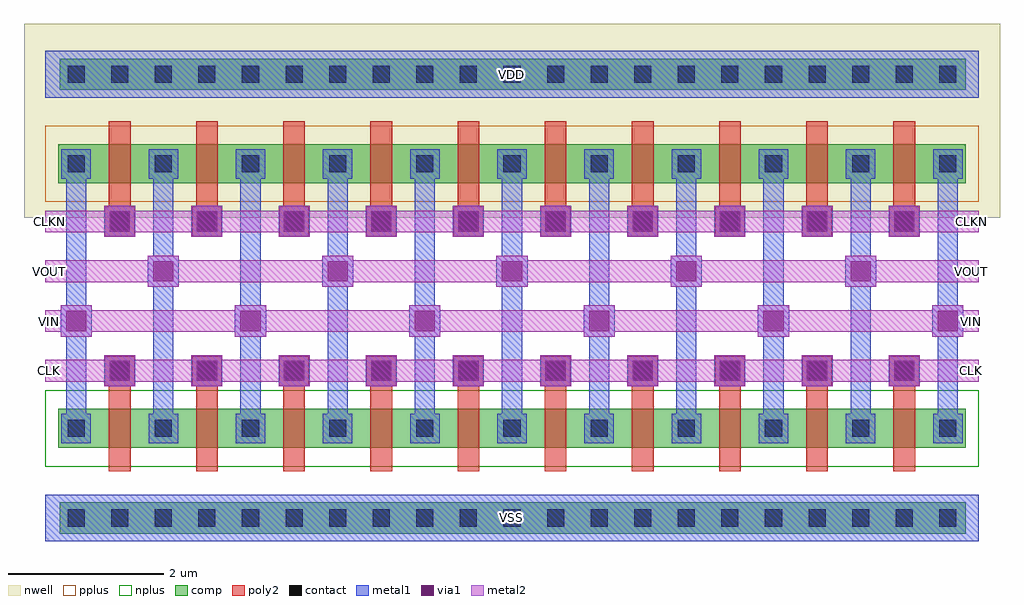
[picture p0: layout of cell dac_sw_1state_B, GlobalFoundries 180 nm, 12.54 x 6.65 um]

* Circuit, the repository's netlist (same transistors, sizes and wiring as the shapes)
** sch_path: /foss/designs/Chipathon-2026-OnChipSAR/designs/sar_adc/dac/dac_sw_1state_B/xschem/dac_sw_1state_B.sch
.subckt dac_sw_1state_B VDD VSS CLK VIN VOUT CLKN
*.PININFO VIN:B VOUT:B CLK:B CLKN:B VSS:B VDD:B
MSN VOUT CLK VIN VSS nfet_03v3 L=0.28u W=0.5u nf=1 m=10
MSP VIN CLKN VOUT VDD pfet_03v3 L=0.28u W=0.5u nf=1 m=10
.ends

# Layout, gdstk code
import gdstk
lib = gdstk.Library(unit=1e-6, precision=5e-09)
def R(c, l, rs):  # rectangles x0, y0, x1, y1
    for r in rs: c.add(gdstk.rectangle(r[:2], r[2:], *l))
def A(c, l, x, y, w, h, nx, ny, dx, dy):  # array of equal rectangles
    R(c, l, [(x+i*dx, y+j*dy, x+i*dx+w, y+j*dy+h) for i in range(nx) for j in range(ny)])
nwell = (21, 0)
comp = (22, 0)
poly2 = (30, 0)
pplus = (31, 0)
nplus = (32, 0)
contact = (33, 0)
metal1 = (34, 0)
via1 = (35, 0)
metal2 = (36, 0)

pfet = lib.new_cell('pfet')
R(pfet, nwell, [(-0.9,-0.44,1.56,0.94)])
R(pfet, comp, [(-0.46,0,0,0.5), (0,0,0.66,0.5), (0.66,0,1.12,0.5)])
R(pfet, poly2, [(0.14,-0.68,0.52,-0.3), (0.19,-0.3,0.47,0.8)])
R(pfet, pplus, [(-0.63,-0.24,1.29,0.74)])
R(pfet, contact, [(0.22,-0.6,0.44,-0.38), (-0.34,0.14,-0.12,0.36), (0.78,0.14,1,0.36)])
R(pfet, metal1, [(0.14,-0.68,0.52,-0.3), (-0.42,0.06,-0.04,0.44), (0.7,0.06,1.08,0.44)])

via_dev = lib.new_cell('via_dev')
R(via_dev, metal1, [(0,0,0.4,0.4)])
R(via_dev, via1, [(0.07,0.07,0.33,0.33)])
R(via_dev, metal2, [(0,0,0.4,0.4)])

dac_sw_1state_b = lib.new_cell('dac_sw_1state_B')
R(dac_sw_1state_b, nwell, [(5.08,10.25,17.62,11.36)])
A(dac_sw_1state_b, comp, 5.52, 5.91, 1.58, 0.5, 10, 1, 1.12, 0)
R(dac_sw_1state_b, comp, [(5.54,4.81,17.18,5.21), (5.52,5.91,5.98,6.41), (6.64,5.91,7.1,6.41), (6.64,5.91,7.1,6.41), (7.76,5.91,8.22,6.41), (7.76,5.91,8.22,6.41), (8.88,5.91,9.34,6.41), (8.88,5.91,9.34,6.41), (10,5.91,10.46,6.41), (10,5.91,10.46,6.41), (11.12,5.91,11.58,6.41), (11.12,5.91,11.58,6.41), (12.24,5.91,12.7,6.41), (12.24,5.91,12.7,6.41), (13.36,5.91,13.82,6.41), (13.36,5.91,13.82,6.41), (14.48,5.91,14.94,6.41), (14.48,5.91,14.94,6.41), (15.6,5.91,16.06,6.41), (15.6,5.91,16.06,6.41), (16.72,5.91,17.18,6.41), (5.54,10.51,17.18,10.91)])
A(dac_sw_1state_b, poly2, 6.17, 5.61, 0.28, 1.1, 10, 1, 1.12, 0)
A(dac_sw_1state_b, poly2, 6.12, 6.71, 0.38, 0.38, 10, 1, 1.12, 0)
R(dac_sw_1state_b, pplus, [(5.35,4.71,17.35,5.31)])
A(dac_sw_1state_b, nplus, 5.35, 5.67, 1.92, 0.98, 10, 1, 1.12, 0)
R(dac_sw_1state_b, nplus, [(5.35,10.41,17.35,11.01)])
A(dac_sw_1state_b, contact, 5.64, 4.9, 0.22, 0.22, 21, 2, 0.56, 5.7)
A(dac_sw_1state_b, contact, 6.2, 6.79, 0.22, 0.22, 10, 1, 1.12, 0)
R(dac_sw_1state_b, contact, [(5.64,6.05,5.86,6.27), (6.76,6.05,6.98,6.27), (6.76,6.05,6.98,6.27), (7.88,6.05,8.1,6.27), (7.88,6.05,8.1,6.27), (9,6.05,9.22,6.27), (9,6.05,9.22,6.27), (10.12,6.05,10.34,6.27), (10.12,6.05,10.34,6.27), (11.24,6.05,11.46,6.27), (11.24,6.05,11.46,6.27), (12.36,6.05,12.58,6.27), (12.36,6.05,12.58,6.27), (13.48,6.05,13.7,6.27), (13.48,6.05,13.7,6.27), (14.6,6.05,14.82,6.27), (14.6,6.05,14.82,6.27), (15.72,6.05,15.94,6.27), (15.72,6.05,15.94,6.27), (16.84,6.05,17.06,6.27)])
A(dac_sw_1state_b, metal1, 5.55, 4.81, 0.4, 0.4, 21, 2, 0.56, 5.7)
A(dac_sw_1state_b, metal1, 6.12, 6.71, 0.38, 0.38, 10, 1, 1.12, 0)
R(dac_sw_1state_b, metal1, [(5.56,5.97,5.94,6.35), (6.68,5.97,7.06,6.35), (6.68,5.97,7.06,6.35), (7.8,5.97,8.18,6.35), (7.8,5.97,8.18,6.35), (8.92,5.97,9.3,6.35), (8.92,5.97,9.3,6.35), (10.04,5.97,10.42,6.35), (10.04,5.97,10.42,6.35), (11.16,5.97,11.54,6.35), (11.16,5.97,11.54,6.35), (12.28,5.97,12.66,6.35), (12.28,5.97,12.66,6.35), (13.4,5.97,13.78,6.35), (13.4,5.97,13.78,6.35), (14.52,5.97,14.9,6.35), (14.52,5.97,14.9,6.35), (15.64,5.97,16.02,6.35), (15.64,5.97,16.02,6.35), (16.76,5.97,17.14,6.35)])
dac_sw_1state_b.add(gdstk.FlexPath([(5.35,10.71),(17.35,10.71)], 0.6, ends="flush", simple_path=True, layer=34, datatype=0))  # metal1
dac_sw_1state_b.add(gdstk.FlexPath([(5.35,5.01),(17.35,5.01)], 0.6, ends="flush", simple_path=True, layer=34, datatype=0))  # metal1
dac_sw_1state_b.add(gdstk.FlexPath([(5.75,9.75),(5.75,5.97)], 0.26, ends="flush", simple_path=True, layer=34, datatype=0))  # metal1
dac_sw_1state_b.add(gdstk.FlexPath([(6.87,9.75),(6.87,5.97)], 0.26, ends="flush", simple_path=True, layer=34, datatype=0))  # metal1
dac_sw_1state_b.add(gdstk.FlexPath([(7.99,9.75),(7.99,5.97)], 0.26, ends="flush", simple_path=True, layer=34, datatype=0))  # metal1
dac_sw_1state_b.add(gdstk.FlexPath([(9.11,9.75),(9.11,5.97)], 0.26, ends="flush", simple_path=True, layer=34, datatype=0))  # metal1
dac_sw_1state_b.add(gdstk.FlexPath([(10.23,9.75),(10.23,5.97)], 0.26, ends="flush", simple_path=True, layer=34, datatype=0))  # metal1
dac_sw_1state_b.add(gdstk.FlexPath([(11.35,9.75),(11.35,5.97)], 0.26, ends="flush", simple_path=True, layer=34, datatype=0))  # metal1
dac_sw_1state_b.add(gdstk.FlexPath([(12.47,9.75),(12.47,5.97)], 0.26, ends="flush", simple_path=True, layer=34, datatype=0))  # metal1
dac_sw_1state_b.add(gdstk.FlexPath([(13.59,9.75),(13.59,5.97)], 0.26, ends="flush", simple_path=True, layer=34, datatype=0))  # metal1
dac_sw_1state_b.add(gdstk.FlexPath([(14.71,9.75),(14.71,5.97)], 0.26, ends="flush", simple_path=True, layer=34, datatype=0))  # metal1
dac_sw_1state_b.add(gdstk.FlexPath([(15.83,9.75),(15.83,5.97)], 0.26, ends="flush", simple_path=True, layer=34, datatype=0))  # metal1
dac_sw_1state_b.add(gdstk.FlexPath([(16.95,9.75),(16.95,5.97)], 0.26, ends="flush", simple_path=True, layer=34, datatype=0))  # metal1
dac_sw_1state_b.add(gdstk.FlexPath([(5.35,8.18),(17.35,8.18)], 0.28, ends="flush", simple_path=True, layer=36, datatype=0))  # metal2
dac_sw_1state_b.add(gdstk.FlexPath([(5.35,8.82),(17.35,8.82)], 0.28, ends="flush", simple_path=True, layer=36, datatype=0))  # metal2
dac_sw_1state_b.add(gdstk.FlexPath([(5.35,6.9),(17.35,6.9)], 0.28, ends="flush", simple_path=True, layer=36, datatype=0))  # metal2
dac_sw_1state_b.add(gdstk.FlexPath([(5.35,7.54),(17.35,7.54)], 0.28, ends="flush", simple_path=True, layer=36, datatype=0))  # metal2
dac_sw_1state_b.add(gdstk.Reference(pfet, (7.1,9.31)))
dac_sw_1state_b.add(gdstk.Reference(pfet, (9.34,9.31)))
dac_sw_1state_b.add(gdstk.Reference(pfet, (5.98,9.31)))
dac_sw_1state_b.add(gdstk.Reference(pfet, (12.7,9.31)))
dac_sw_1state_b.add(gdstk.Reference(pfet, (13.82,9.31)))
dac_sw_1state_b.add(gdstk.Reference(pfet, (14.94,9.31)))
dac_sw_1state_b.add(gdstk.Reference(pfet, (16.06,9.31)))
dac_sw_1state_b.add(gdstk.Reference(pfet, (11.58,9.31)))
dac_sw_1state_b.add(gdstk.Reference(pfet, (10.46,9.31)))
dac_sw_1state_b.add(gdstk.Reference(via_dev, (11.71,8.62)))
dac_sw_1state_b.add(gdstk.Reference(via_dev, (6.11,8.62)))
dac_sw_1state_b.add(gdstk.Reference(via_dev, (7.23,8.62)))
dac_sw_1state_b.add(gdstk.Reference(via_dev, (8.35,8.62)))
dac_sw_1state_b.add(gdstk.Reference(via_dev, (9.47,8.62)))
dac_sw_1state_b.add(gdstk.Reference(via_dev, (10.59,8.62)))
dac_sw_1state_b.add(gdstk.Reference(via_dev, (12.83,8.62)))
dac_sw_1state_b.add(gdstk.Reference(via_dev, (13.95,8.62)))
dac_sw_1state_b.add(gdstk.Reference(via_dev, (15.07,8.62)))
dac_sw_1state_b.add(gdstk.Reference(via_dev, (16.19,8.62)))
dac_sw_1state_b.add(gdstk.Reference(via_dev, (11.71,6.7)))
dac_sw_1state_b.add(gdstk.Reference(via_dev, (7.23,6.7)))
dac_sw_1state_b.add(gdstk.Reference(via_dev, (8.35,6.7)))
dac_sw_1state_b.add(gdstk.Reference(via_dev, (9.47,6.7)))
dac_sw_1state_b.add(gdstk.Reference(via_dev, (10.59,6.7)))
dac_sw_1state_b.add(gdstk.Reference(via_dev, (12.83,6.7)))
dac_sw_1state_b.add(gdstk.Reference(via_dev, (13.95,6.7)))
dac_sw_1state_b.add(gdstk.Reference(via_dev, (15.07,6.7)))
dac_sw_1state_b.add(gdstk.Reference(via_dev, (16.19,6.7)))
dac_sw_1state_b.add(gdstk.Reference(pfet, (8.22,9.31)))
dac_sw_1state_b.add(gdstk.Reference(via_dev, (6.67,7.98)))
dac_sw_1state_b.add(gdstk.Reference(via_dev, (8.91,7.98)))
dac_sw_1state_b.add(gdstk.Reference(via_dev, (11.15,7.98)))
dac_sw_1state_b.add(gdstk.Reference(via_dev, (13.39,7.98)))
dac_sw_1state_b.add(gdstk.Reference(via_dev, (15.63,7.98)))
dac_sw_1state_b.add(gdstk.Reference(via_dev, (5.55,7.34)))
dac_sw_1state_b.add(gdstk.Reference(via_dev, (7.79,7.34)))
dac_sw_1state_b.add(gdstk.Reference(via_dev, (10.03,7.34)))
dac_sw_1state_b.add(gdstk.Reference(via_dev, (12.27,7.34)))
dac_sw_1state_b.add(gdstk.Reference(via_dev, (14.51,7.34)))
dac_sw_1state_b.add(gdstk.Reference(via_dev, (16.75,7.34)))
dac_sw_1state_b.add(gdstk.Reference(via_dev, (6.11,6.7)))
dac_sw_1state_b.add(gdstk.Label('CLK', (17.25,6.9), layer=36, texttype=10))
dac_sw_1state_b.add(gdstk.Label('CLKN', (5.41,8.82), layer=36, texttype=10))
dac_sw_1state_b.add(gdstk.Label('VIN', (5.41,7.54), layer=36, texttype=10))
dac_sw_1state_b.add(gdstk.Label('VOUT', (5.41,8.18), layer=36, texttype=10))
dac_sw_1state_b.add(gdstk.Label('VIN', (17.25,7.54), layer=36, texttype=10))
dac_sw_1state_b.add(gdstk.Label('VOUT', (17.25,8.18), layer=36, texttype=10))
dac_sw_1state_b.add(gdstk.Label('CLKN', (17.25,8.82), layer=36, texttype=10))
dac_sw_1state_b.add(gdstk.Label('CLK', (5.41,6.9), layer=36, texttype=10))
dac_sw_1state_b.add(gdstk.Label('VDD', (11.34,10.71), layer=34, texttype=10))
dac_sw_1state_b.add(gdstk.Label('VSS', (11.34,5.01), layer=34, texttype=10))

lib.write_gds('dac_sw_1state_B.gds')
